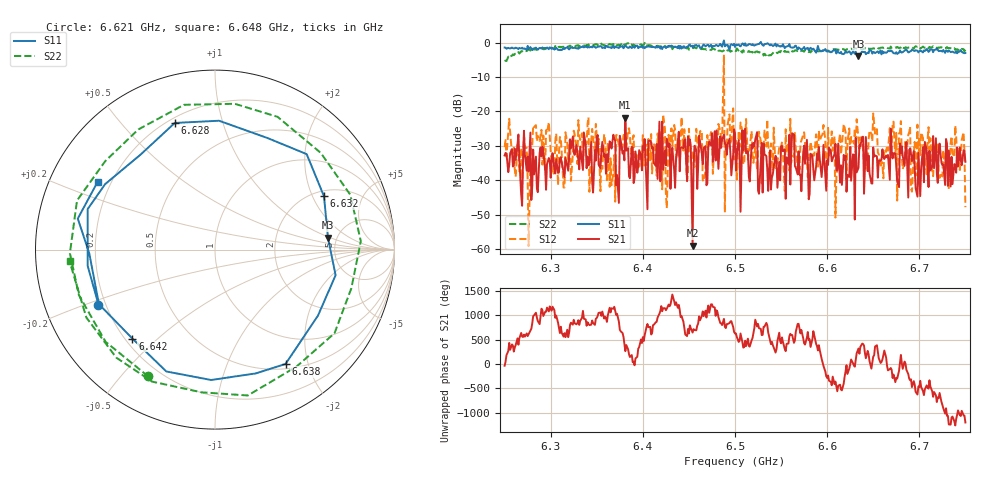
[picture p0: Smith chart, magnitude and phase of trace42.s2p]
# Hz S RI R 50
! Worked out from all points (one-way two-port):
!   401 points, 6.25 GHz to 6.75 GHz, reference 50 ohm
!   highest |S21| = -21.79 dB at 6.381 GHz (marker M1); lowest = -58.9 dB at 6.454 GHz (marker M2)
!   lowest |S11| = -4.0 dB at 6.634 GHz (marker M3), VSWR 4.45, Z = 211 + j47.1 ohm
!   |S11| at or under -10 dB: nowhere
!   |S22| runs from -5.4 to 0.0 dB; largest |S21 - S12| = 0.62
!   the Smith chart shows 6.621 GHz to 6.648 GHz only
!   S11 on the Smith chart (normalised r, x): 6.621 GHz: 0.17, -0.22; 6.628 GHz: 0.23, +0.71; 6.632 GHz: 2.24, +2.45; 6.638 GHz: 0.57, -1.65; 6.642 GHz: 0.23, -0.42; 6.648 GHz: 0.15, +0.26
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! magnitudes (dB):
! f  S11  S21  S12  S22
! 6.25 GHz  -1.5  -32.7  -30.3  -5.3
! 6.276 GHz  -1.9  -37.4  -59.0  -2.0
! 6.284 GHz  -1.5  -33.1  -23.9  -2.0
! 6.334 GHz  -1.2  -34.8  -26.3  -0.6
! 6.368 GHz  -0.8  -26.7  -37.9  -0.4
! 6.381 GHz  -0.8  -21.8  -23.6  -0.8
! 6.418 GHz  -1.2  -22.9  -31.7  -1.2
! 6.454 GHz  -0.9  -58.9  -31.9  -1.5
! 6.485 GHz  -0.9  -30.5  -27.8  -2.5
! 6.5 GHz  -1.3  -26.3  -28.3  -2.2
! 6.584 GHz  -2.0  -32.8  -31.9  -2.2
! 6.621 GHz  -2.9  -43.3  -39.7  -2.0
! 6.628 GHz  -2.6  -32.4  -28.6  -2.1
! 6.632 GHz  -3.4  -37.6  -22.3  -1.7
! 6.634 GHz  -4.0  -36.4  -28.1  -2.0
! 6.638 GHz  -2.5  -27.4  -29.0  -2.1
! 6.642 GHz  -3.4  -27.4  -36.6  -2.0
! 6.648 GHz  -2.4  -40.8  -26.5  -1.8
! 6.668 GHz  -2.5  -39.8  -24.8  -1.7
! 6.724 GHz  -2.4  -34.8  -37.7  -1.3
! 6.738 GHz  -3.0  -35.2  -33.2  -1.6
! 6.75 GHz  -3.0  -34.6  -47.7  -2.1
